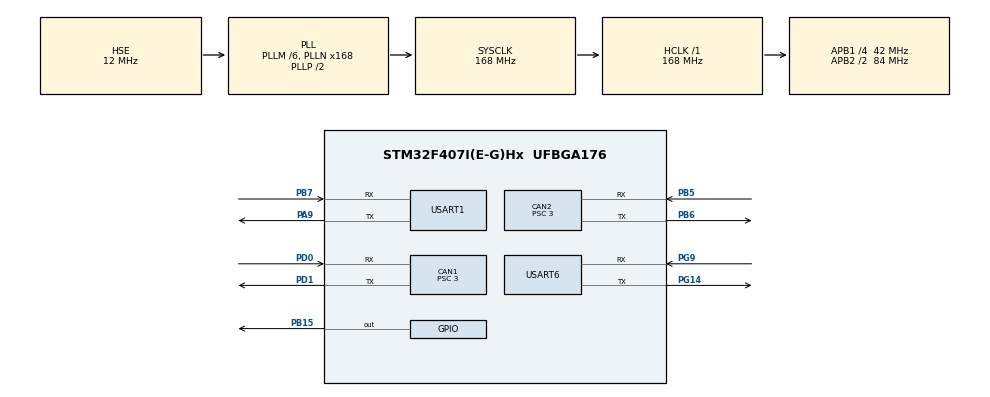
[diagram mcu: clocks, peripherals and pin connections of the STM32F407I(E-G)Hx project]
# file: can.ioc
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CAN1.BS1=CAN_BS1_10TQ
CAN1.BS2=CAN_BS2_3TQ
CAN1.CalculateBaudRate=1000000
CAN1.CalculateTimeQuantum=71.42857142857143
CAN1.Prescaler=3
CAN2.BS1=CAN_BS1_10TQ
CAN2.BS2=CAN_BS2_3TQ
CAN2.CalculateBaudRate=1000000
CAN2.CalculateTimeQuantum=71.42857142857143
CAN2.Prescaler=3
Mcu.Family=STM32F4
Mcu.Name=STM32F407I(E-G)Hx
Mcu.Package=UFBGA176
NVIC.CAN1_RX0_IRQn=true\:0\:0\:false\:false\:true\:true\:true\:true
NVIC.CAN2_RX0_IRQn=true\:0\:0\:false\:false\:true\:true\:true\:true
NVIC.PriorityGroup=NVIC_PRIORITYGROUP_4
NVIC.USART1_IRQn=true\:0\:0\:false\:false\:true\:true\:true\:true
NVIC.USART6_IRQn=true\:0\:0\:false\:false\:true\:true\:true\:true
PA13.Mode=Serial_Wire
PA13.Signal=SYS_JTMS-SWDIO
PA14.Mode=Serial_Wire
PA14.Signal=SYS_JTCK-SWCLK
PA9.Mode=Asynchronous
PA9.Signal=USART1_TX
PB15.Signal=GPIO_Output
PB5.Mode=CAN_Activate
PB5.Signal=CAN2_RX
PB6.Mode=CAN_Activate
PB6.Signal=CAN2_TX
PB7.Mode=Asynchronous
PB7.Signal=USART1_RX
PD0.Mode=CAN_Activate
PD0.Signal=CAN1_RX
PD1.Mode=CAN_Activate
PD1.Signal=CAN1_TX
PG14.Mode=Asynchronous
PG14.Signal=USART6_TX
PG9.Mode=Asynchronous
PG9.Signal=USART6_RX
PH0-OSC_IN.Mode=HSE-External-Oscillator
PH0-OSC_IN.Signal=RCC_OSC_IN
PH1-OSC_OUT.Mode=HSE-External-Oscillator
PH1-OSC_OUT.Signal=RCC_OSC_OUT
ProjectManager.HeapSize=0x200
ProjectManager.StackSize=0x400
ProjectManager.TargetToolchain=MDK-ARM V5.32
RCC.48MHZClocksFreq_Value=84000000
RCC.AHBFreq_Value=168000000
RCC.APB1CLKDivider=RCC_HCLK_DIV4
RCC.APB1Freq_Value=42000000
RCC.APB1TimFreq_Value=84000000
RCC.APB2CLKDivider=RCC_HCLK_DIV2
RCC.APB2Freq_Value=84000000
RCC.APB2TimFreq_Value=168000000
RCC.CortexFreq_Value=168000000
RCC.HCLKFreq_Value=168000000
RCC.HSE_VALUE=12000000
RCC.HSI_VALUE=16000000
RCC.LSE_VALUE=32768
RCC.PLLM=6
RCC.PLLN=168
RCC.PLLSourceVirtual=RCC_PLLSOURCE_HSE
RCC.SYSCLKFreq_VALUE=168000000
RCC.SYSCLKSource=RCC_SYSCLKSOURCE_PLLCLK
RCC.VCOOutputFreq_Value=336000000
USART1.VirtualMode=VM_ASYNC
USART6.VirtualMode=VM_ASYNC
board=custom

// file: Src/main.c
/* USER CODE BEGIN Header */
/**
  ******************************************************************************
  * @file           : main.c
  * @brief          : Main program body
  ******************************************************************************
  * @attention
  *
  * <h2><center>&copy; Copyright (c) 2019 STMicroelectronics.
  * All rights reserved.</center></h2>
  *
  * This software component is licensed by ST under BSD 3-Clause license,
  * the "License"; You may not use this file except in compliance with the
  * License. You may obtain a copy of the License at:
  *                        opensource.org/licenses/BSD-3-Clause
  *
  ******************************************************************************
  */
/* USER CODE END Header */
#include "main.h"
#include "can.h"
#include "usart.h"
#include "gpio.h"

/* USER CODE BEGIN Includes */
#include "bsp_can.h"
#include "CAN_receive.h"
#include "object_dictionary.h"
#include "Lora.h"
/* USER CODE END Includes */

/* USER CODE BEGIN PV */
extern int32_t target_pos;
/* USER CODE END PV */

void SystemClock_Config(void);

/* USER CODE BEGIN 0 */
ObjectDictionary* od = NULL;
/* USER CODE END 0 */

int main(void)
{

  /* MCU Configuration--------------------------------------------------------*/

  /* Reset of all peripherals, Initializes the Flash interface and the Systick. */
  HAL_Init();

  /* Configure the system clock */
  SystemClock_Config();

  /* Initialize all configured peripherals */
  MX_GPIO_Init();
  MX_CAN1_Init();
  MX_CAN2_Init();
  MX_USART1_UART_Init();
  MX_USART6_UART_Init();
  /* USER CODE BEGIN 2 */
	LoRa_T_V_Attach(0, 1);
	HAL_GPIO_WritePin(GPIOB, GPIO_PIN_15, GPIO_PIN_RESET);
    can_filter_init();

    od = OD_Create();
    if (od == NULL) {
        return 1;
    }
    OD_User_Init(od);

    CAN_motor_mode(POSITION_CONTROL, 0x01);
	//CAN_motor_encoderDataReset(16, 0x01);
    CAN_motor_setProfileSpeed(150, 0x01);
    CAN_motor_enable(0x01);

  /* USER CODE END 2 */

  /* Infinite loop */
    while (1)
    {

    /* USER CODE BEGIN 3 */
        CAN_motor_setPos(target_pos, 0x01);
		HAL_Delay(1);
    }
  /* USER CODE END 3 */
}

void SystemClock_Config(void)
{
  RCC_OscInitTypeDef RCC_OscInitStruct = {0};
  RCC_ClkInitTypeDef RCC_ClkInitStruct = {0};

  /** Configure the main internal regulator output voltage
  */
  __HAL_RCC_PWR_CLK_ENABLE();
  __HAL_PWR_VOLTAGESCALING_CONFIG(PWR_REGULATOR_VOLTAGE_SCALE1);

  /** Initializes the RCC Oscillators according to the specified parameters
  * in the RCC_OscInitTypeDef structure.
  */
  RCC_OscInitStruct.OscillatorType = RCC_OSCILLATORTYPE_HSE;
  RCC_OscInitStruct.HSEState = RCC_HSE_ON;
  RCC_OscInitStruct.PLL.PLLState = RCC_PLL_ON;
  RCC_OscInitStruct.PLL.PLLSource = RCC_PLLSOURCE_HSE;
  RCC_OscInitStruct.PLL.PLLM = 6;
  RCC_OscInitStruct.PLL.PLLN = 168;
  RCC_OscInitStruct.PLL.PLLP = RCC_PLLP_DIV2;
  RCC_OscInitStruct.PLL.PLLQ = 4;
  if (HAL_RCC_OscConfig(&RCC_OscInitStruct) != HAL_OK)
  {
    Error_Handler();
  }

  /** Initializes the CPU, AHB and APB buses clocks
  */
  RCC_ClkInitStruct.ClockType = RCC_CLOCKTYPE_HCLK|RCC_CLOCKTYPE_SYSCLK
                              |RCC_CLOCKTYPE_PCLK1|RCC_CLOCKTYPE_PCLK2;
  RCC_ClkInitStruct.SYSCLKSource = RCC_SYSCLKSOURCE_PLLCLK;
  RCC_ClkInitStruct.AHBCLKDivider = RCC_SYSCLK_DIV1;
  RCC_ClkInitStruct.APB1CLKDivider = RCC_HCLK_DIV4;
  RCC_ClkInitStruct.APB2CLKDivider = RCC_HCLK_DIV2;

  if (HAL_RCC_ClockConfig(&RCC_ClkInitStruct, FLASH_LATENCY_5) != HAL_OK)
  {
    Error_Handler();
  }
}

void Error_Handler(void)
{
}
